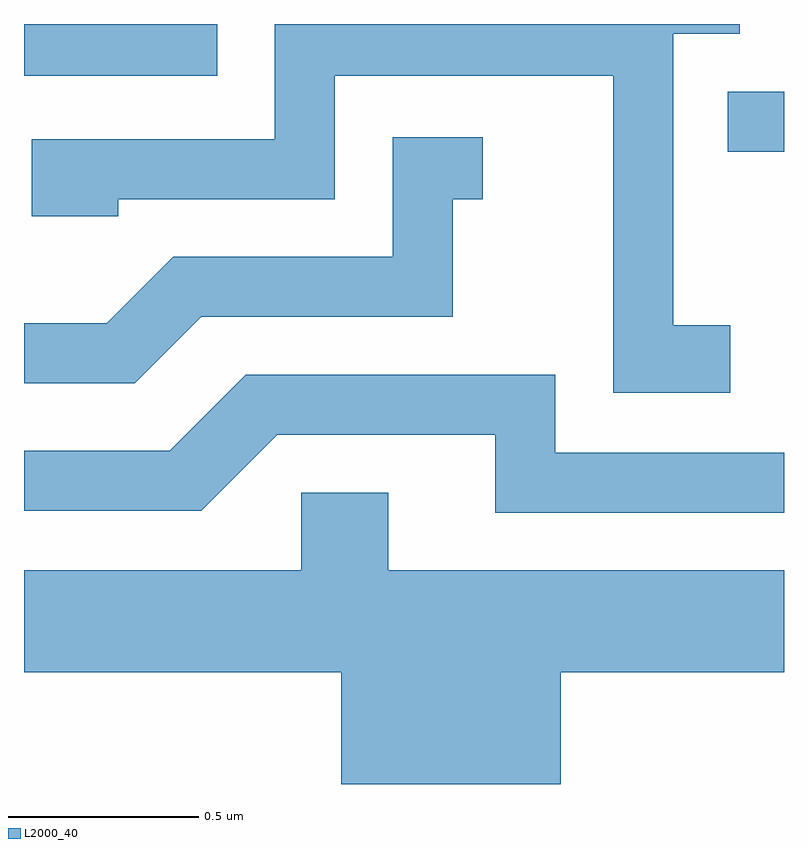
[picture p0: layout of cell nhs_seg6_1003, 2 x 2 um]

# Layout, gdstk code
import gdstk
lib = gdstk.Library(unit=1e-6, precision=1e-09)
def R(c, l, rs):  # rectangles x0, y0, x1, y1
    for r in rs: c.add(gdstk.rectangle(r[:2], r[2:], *l))
def P(c, l, *ps):  # polygons
    for p in ps: c.add(gdstk.Polygon(p, *l))
L2000_40 = (2000, 40)

nhs_seg6_1003 = lib.new_cell('nhs_seg6_1003')
R(nhs_seg6_1003, L2000_40, [(194.463,1575.826,194.611,1575.984), (192.611,1576.026,193.119,1576.162)])
P(nhs_seg6_1003, L2000_40, [(194.469,1575.369),(194.319,1575.369),(194.319,1576.136),(194.494,1576.136),(194.494,1576.162),(193.271,1576.162),(193.271,1575.859),(192.631,1575.859),(192.631,1575.656),(192.859,1575.656),(192.859,1575.701),(193.429,1575.701),(193.429,1576.026),(194.161,1576.026),(194.161,1575.191),(194.469,1575.191)],
  [(193.077,1575.391),(193.739,1575.391),(193.739,1575.701),(193.818,1575.701),(193.818,1575.864),(193.581,1575.864),(193.581,1575.549),(193.004,1575.549),(192.829,1575.374),(192.611,1575.374),(192.611,1575.216),(192.902,1575.216)],
  [(194.611,1575.034),(194.009,1575.034),(194.009,1575.239),(193.194,1575.239),(192.994,1575.039),(192.611,1575.039),(192.611,1574.881),(193.077,1574.881),(193.277,1575.081),(193.851,1575.081),(193.851,1574.876),(194.611,1574.876)],
  [(194.024,1574.456),(194.611,1574.456),(194.611,1574.724),(193.569,1574.724),(193.569,1574.929),(193.341,1574.929),(193.341,1574.724),(192.611,1574.724),(192.611,1574.456),(193.446,1574.456),(193.446,1574.162),(194.024,1574.162)])

lib.write_gds('nhs_seg6_1003.gds')
